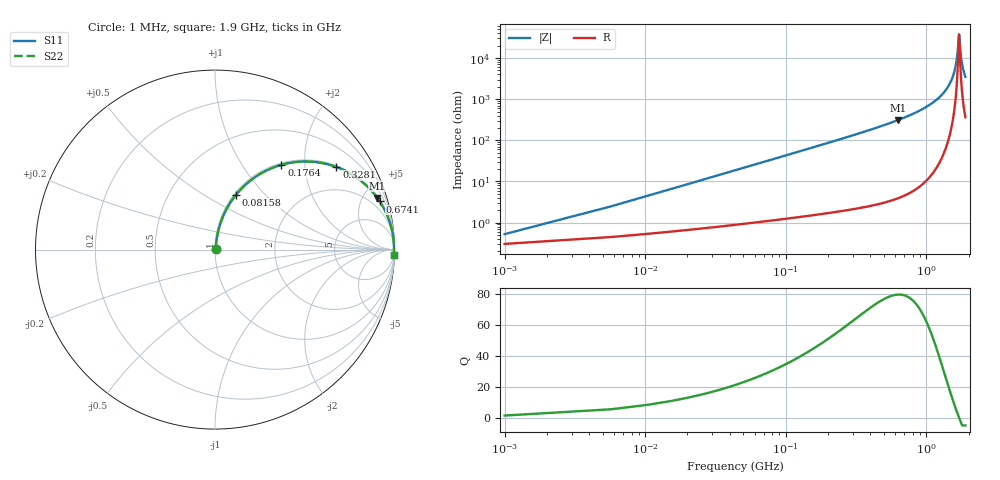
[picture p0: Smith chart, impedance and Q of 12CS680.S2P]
! Coilcraft 1206CS-680 Chip Inductor
! 29 July 2002
# MHZ S MA R 50
!Freq  MagS11  AngS11  MagS21  AngS21  MagS12  AngS12  MagS22  AngS22
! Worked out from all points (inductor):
!   402 points, 1 MHz to 1.9 GHz, reference 50 ohm
!   read as one part in series: L = 68 nH near 10.48 MHz
!   highest Q = 79.8 at 631.4 MHz (marker M1), where L = 78.7 nH
!   self-resonance near 1.712 GHz
!   S11 on the Smith chart (normalised r, x): 1 MHz: 1.01, +0.01; 81.58 MHz: 1.02, +0.70; 176.4 MHz: 1.03, +1.52; 328.1 MHz: 1.04, +2.91; 674.1 MHz: 1.09, +6.82; 1.9 GHz: 8, -70
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1  0.005222 54.4  0.997 -0.2  0.997 -0.2  0.005222 54.4
15.22  0.06479 81.0  0.9919 -3.7  0.9919 -3.7  0.06479 81.0
24.7  0.1045 80.2  0.9875 -6.0  0.9875 -6.0  0.1045 80.2
48.4  0.2011 75.9  0.9707 -11.6  0.9707 -11.6  0.2011 75.9
81.58  0.3267 69.1  0.9346 -19.1  0.9346 -19.1  0.3267 69.1
176.38  0.6 51.9  0.7875 -36.9  0.7875 -36.9  0.6 51.9
318.58  0.8098 35.0  0.5743 -54.1  0.5743 -54.1  0.8098 35.0
328.06  0.8183 34.2  0.5624 -54.9  0.5624 -54.9  0.8183 34.2
631.42  0.9489 17.7  0.3039 -71.6  0.3039 -71.6  0.9489 17.7
636.16  0.9498 17.5  0.3012 -71.8  0.3012 -71.8  0.9498 17.5
674.08  0.9563 16.3  0.2806 -73.0  0.2806 -73.0  0.9563 16.3
953.74  0.9835 9.6  0.1665 -79.6  0.1665 -79.6  0.9835 9.6
1271.32  0.9943 4.7  0.08222 -83.7  0.08222 -83.7  0.9943 4.7
1460.92  0.9967 2.5  0.04356 -84.4  0.04356 -84.4  0.9967 2.5
1584.16  0.9973 1.2  0.02144 -82.1  0.02144 -82.1  0.9973 1.2
1650.52  0.9974 0.6  0.01041 -75.1  0.01041 -75.1  0.9974 0.6
1712.14  0.9973 0.0  0.002657 -2.1  0.002657 -2.1  0.9973 0.0
1721.62  0.9973 -0.1  0.003017 27.7  0.003017 27.7  0.9973 -0.1
1759.54  0.9972 -0.4  0.007833 69.2  0.007833 69.2  0.9972 -0.4
1787.98  0.9972 -0.7  0.01204 76.0  0.01204 76.0  0.9972 -0.7
1835.38  0.997 -1.1  0.01906 80.3  0.01906 80.3  0.997 -1.1
1900  0.9966 -1.6  0.02846 82.4  0.02846 82.4  0.9966 -1.6
